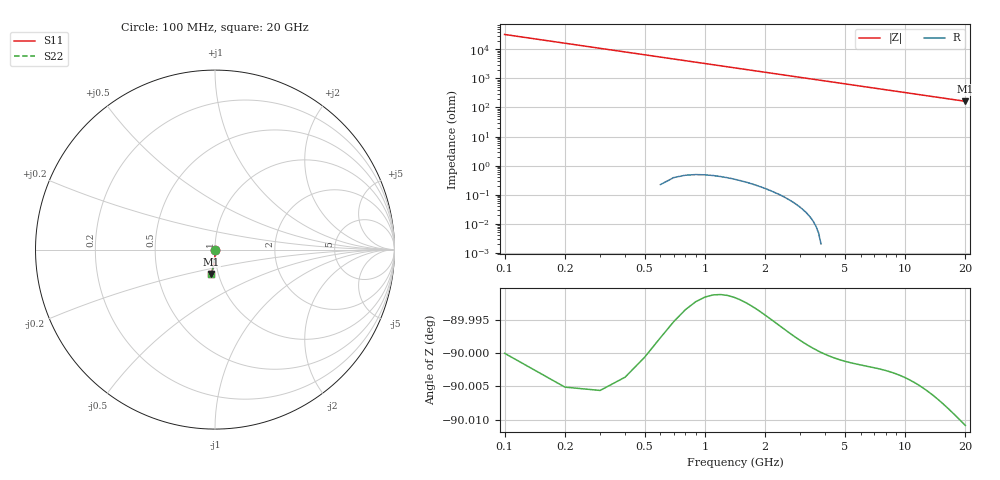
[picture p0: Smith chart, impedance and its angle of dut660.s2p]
! Touchstone file exported from HFSS 2026.1.0
!  File:  C:/ffzhzh/LocalFiles/Ansys_Project_Files/temp_train_TSV_660_1783026865_51716.aedt
!  Generated:  05:15:53 AM Jul  3, 2026
!  Design:  TSV
!  Project:  temp_train_TSV_660_1783026865_51716
! Variables:
!  h_bsmrdl = 2um
!  h_ox = 20um
!  h_rdl = 5um
!  h_sub = 56.83um
!  h_tmrdl = 5um
!  h_tsv = 56.83um
!  h_via = 3um
!  l_bsmrdl = 300um
!  l_sub = 418.98um
!  l_tmrdl = 200um
!  m_sub = 200um
!  pitch = 20.33um
!  r_tsv = 9.49um
!  s_tmrdl = 10um
!  w_bsmrdl = 18um
!  w_sub = 500um
!  w_tmrdl = 12um
!  x_tsv_center1 = 206um
!  x_tsv_center2 = 524um
!  x_tsv_center3 = 736um
!  x_tsv_center4 = 1054um
!  x_tsv_center5 = 1266um
!  x_tsv_center6 = 1584um
# GHz S MA R 50.000000
! Terminal data exported
! Port[1] = TSV1_1_T1
! Port[2] = TSV1_1_T2
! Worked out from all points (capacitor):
!   200 points, 100 MHz to 20 GHz, reference 50 ohm
!   read as one part in shunt: C = 48.8 fF near 200 MHz
!   lowest |Z| = 163 ohm at 20 GHz (marker M1)
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0.1  0.0006388 -78.4  0.9999 -0.1  0.9999 -0.1  0.0006388 -78.4
! Gamma 0 0 0 0
! Port Impedance 50 0 50 0
0.2  0.001269 -83.1  0.9998 -0.1  0.9998 -0.1  0.001269 -83.1
0.3  0.001915 -84.5  0.9998 -0.2  0.9998 -0.2  0.001915 -84.5
0.4  0.002575 -85.2  0.9998 -0.2  0.9998 -0.2  0.002575 -85.2
0.5  0.003246 -85.6  0.9997 -0.3  0.9997 -0.3  0.003246 -85.6
0.7  0.004606 -86.3  0.9997 -0.4  0.9997 -0.4  0.004606 -86.3
0.8  0.005291 -86.6  0.9996 -0.4  0.9996 -0.4  0.005291 -86.6
1  0.006665 -87.1  0.9996 -0.5  0.9996 -0.5  0.006665 -87.1
1.2  0.008041 -87.6  0.9995 -0.6  0.9995 -0.6  0.008041 -87.6
1.4  0.009416 -88.0  0.9995 -0.7  0.9995 -0.7  0.009416 -88.0
1.7  0.01148 -88.4  0.9994 -0.8  0.9994 -0.8  0.01148 -88.4
2  0.01354 -88.8  0.9994 -1.0  0.9994 -1.0  0.01354 -88.8
2.7  0.01835 -89.5  0.9992 -1.3  0.9992 -1.3  0.01835 -89.5
3.5  0.02386 -90.1  0.999 -1.7  0.999 -1.7  0.02386 -90.1
4.2  0.02868 -90.5  0.9988 -2.0  0.9988 -2.0  0.02868 -90.5
5  0.03421 -91.0  0.9986 -2.4  0.9986 -2.4  0.03421 -91.0
6.8  0.04666 -92.1  0.9979 -3.3  0.9979 -3.3  0.04666 -92.1
8.3  0.05704 -92.9  0.9972 -4.0  0.9972 -4.0  0.05704 -92.9
10.1  0.06948 -93.8  0.9963 -4.9  0.9963 -4.9  0.06948 -93.8
13.4  0.0922 -95.5  0.9943 -6.4  0.9943 -6.4  0.0922 -95.5
16.7  0.1148 -97.2  0.9917 -8.0  0.9917 -8.0  0.1148 -97.2
20  0.1372 -98.8  0.9887 -9.6  0.9887 -9.6  0.1372 -98.8
